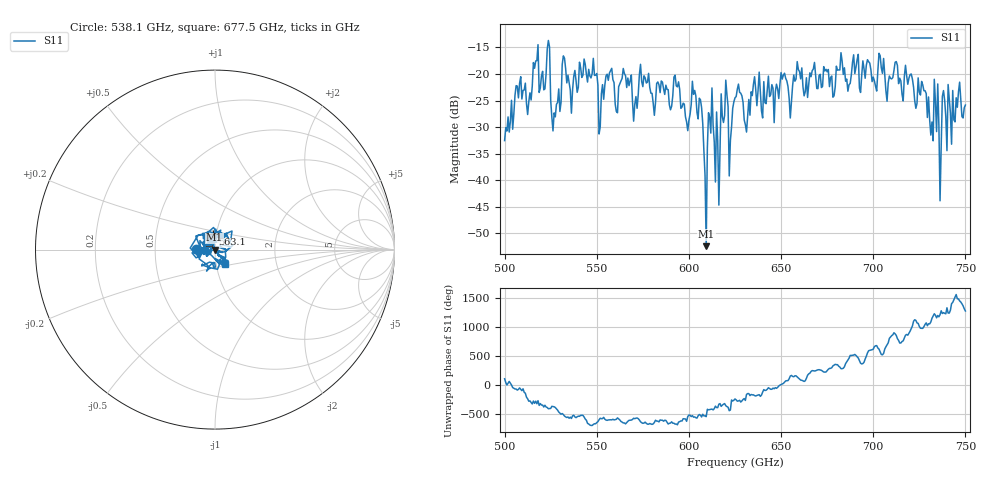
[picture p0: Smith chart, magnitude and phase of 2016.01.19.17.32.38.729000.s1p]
!Created with skrf (http://scikit-rf.org).
# GHz S RI R 50.0
!freq ReS11 ImS11
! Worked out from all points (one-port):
!   401 points, 500 GHz to 750 GHz, reference 50 ohm
!   lowest |S11| = -52.4 dB at 609.4 GHz (marker M1), VSWR 1.00, Z = 49.8 - j0.00736 ohm
!   |S11| at or under -10 dB: start of sweep to end of sweep
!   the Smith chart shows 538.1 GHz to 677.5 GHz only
!   S11 on the Smith chart (normalised r, x): 538.1 GHz: 0.80, +0.01; 563.1 GHz: 0.96, +0.16; 677.5 GHz: 1.10, -0.17
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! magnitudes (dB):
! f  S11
! 500 GHz  -32.5
! 507.5 GHz  -24.5
! 513.1 GHz  -25.2
! 516.9 GHz  -17.5
! 523.8 GHz  -13.7
! 526.2 GHz  -30.7
! 531.2 GHz  -18.2
! 538.1 GHz  -19.3
! 562.5 GHz  -21.8
! 563.1 GHz  -21.3
! 570.6 GHz  -25.7
! 574.4 GHz  -21.4
! 593.8 GHz  -22.4
! 599.4 GHz  -30.7
! 606.2 GHz  -24.8
! 609.4 GHz  -52.4
! 611.9 GHz  -31.1
! 615.6 GHz  -32.6
! 618.8 GHz  -29.1
! 622.5 GHz  -32.5
! 625 GHz  -24.5
! 656.2 GHz  -22.2
! 677.5 GHz  -20.4
! 687.5 GHz  -21.8
! 718.8 GHz  -21.9
! 734.4 GHz  -30.8
! 735.6 GHz  -29.7
! 750 GHz  -25.8
